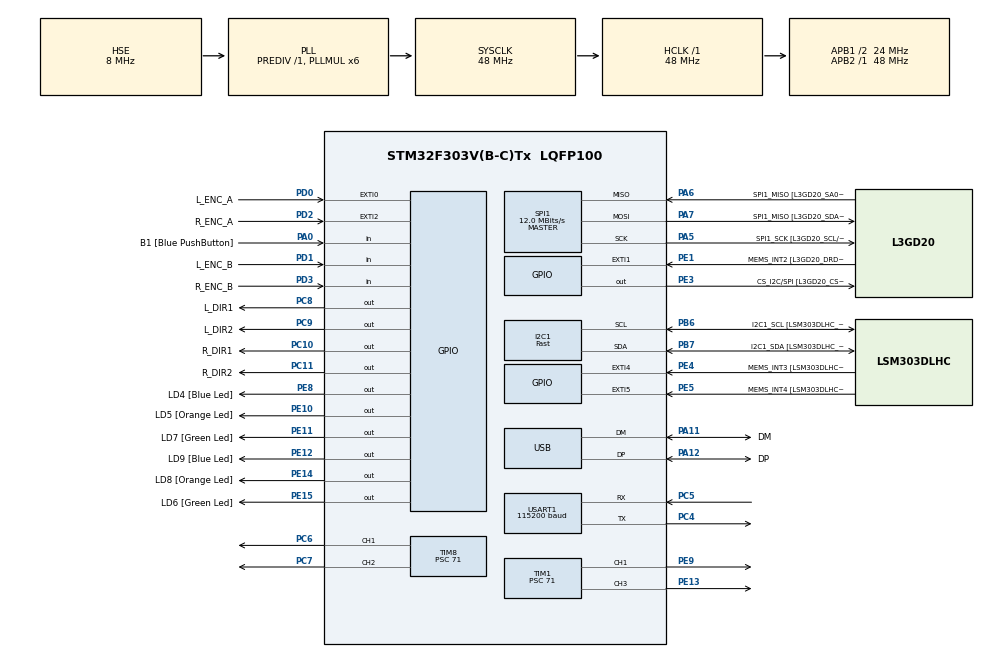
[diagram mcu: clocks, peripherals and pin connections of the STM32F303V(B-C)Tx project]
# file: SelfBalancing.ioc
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I2C1.I2C_Speed_Mode=I2C_Fast
I2C1.Timing=0x0010020A
I2C1.Timing-I2C=0x2000090E
Mcu.Family=STM32F3
Mcu.Name=STM32F303V(B-C)Tx
Mcu.Package=LQFP100
NVIC.EXTI0_IRQn=true\:0\:0\:false\:false\:true\:true\:true\:true
NVIC.EXTI2_TSC_IRQn=true\:0\:0\:false\:false\:true\:true\:true\:true
NVIC.PriorityGroup=NVIC_PRIORITYGROUP_0
NVIC.USART1_IRQn=true\:0\:0\:false\:false\:true\:true\:true\:true
PA0.GPIO_Label=B1 [Blue PushButton]
PA0.Signal=GPIO_Input
PA11.GPIO_Label=DM
PA11.Mode=Device
PA11.Signal=USB_DM
PA12.GPIO_Label=DP
PA12.Mode=Device
PA12.Signal=USB_DP
PA13.GPIO_Label=SWDIO
PA13.Mode=Serial_Wire
PA13.Signal=SYS_JTMS-SWDIO
PA14.GPIO_Label=SWCLK
PA14.Mode=Serial_Wire
PA14.Signal=SYS_JTCK-SWCLK
PA5.GPIO_Label=SPI1_SCK [L3GD20_SCL/SPC]
PA5.Mode=Full_Duplex_Master
PA5.Signal=SPI1_SCK
PA6.GPIO_Label=SPI1_MISO [L3GD20_SA0/SDO]
PA6.Mode=Full_Duplex_Master
PA6.Signal=SPI1_MISO
PA7.GPIO_Label=SPI1_MISO [L3GD20_SDA/SDI/SDO]
PA7.Mode=Full_Duplex_Master
PA7.Signal=SPI1_MOSI
PB3.GPIO_Label=SWO
PB3.Signal=SYS_JTDO-TRACESWO
PB6.GPIO_Label=I2C1_SCL [LSM303DLHC_SCL]
PB6.GPIO_Pu=GPIO_PULLUP
PB6.Mode=I2C
PB6.Signal=I2C1_SCL
PB7.GPIO_Label=I2C1_SDA [LSM303DLHC_SDA]
PB7.GPIO_Pu=GPIO_PULLUP
PB7.Mode=I2C
PB7.Signal=I2C1_SDA
PC10.GPIO_Label=R_DIR1
PC10.Signal=GPIO_Output
PC11.GPIO_Label=R_DIR2
PC11.Signal=GPIO_Output
PC14-OSC32_IN.GPIO_Label=OSC32_IN
PC14-OSC32_IN.Signal=RCC_OSC32_IN
PC15-OSC32_OUT.GPIO_Label=OSC32_OUT
PC15-OSC32_OUT.Signal=RCC_OSC32_OUT
PC4.Mode=Asynchronous
PC4.Signal=USART1_TX
PC5.Mode=Asynchronous
PC5.Signal=USART1_RX
PC6.Signal=S_TIM8_CH1
PC7.Signal=S_TIM8_CH2
PC8.GPIO_Label=L_DIR1
PC8.Signal=GPIO_Output
PC9.GPIO_Label=L_DIR2
PC9.Signal=GPIO_Output
PD0.GPIO_Label=L_ENC_A
PD0.GPIO_PuPd=GPIO_PULLUP
PD0.Signal=GPXTI0
PD1.GPIO_Label=L_ENC_B
PD1.GPIO_PuPd=GPIO_PULLUP
PD1.Signal=GPIO_Input
PD2.GPIO_Label=R_ENC_A
PD2.GPIO_PuPd=GPIO_PULLUP
PD2.Signal=GPXTI2
PD3.GPIO_Label=R_ENC_B
PD3.GPIO_PuPd=GPIO_PULLUP
PD3.Signal=GPIO_Input
PE1.GPIO_Label=MEMS_INT2 [L3GD20_DRDY/INT2]
PE1.GPIO_ModeDefaultEXTI=GPIO_MODE_EVT_RISING
PE1.Signal=GPXTI1
PE10.GPIO_Label=LD5 [Orange Led]
PE10.Signal=GPIO_Output
PE11.GPIO_Label=LD7 [Green Led]
PE11.Signal=GPIO_Output
PE12.GPIO_Label=LD9 [Blue Led]
PE12.Signal=GPIO_Output
PE13.Signal=S_TIM1_CH3
PE14.GPIO_Label=LD8 [Orange Led]
PE14.Signal=GPIO_Output
PE15.GPIO_Label=LD6 [Green Led]
PE15.Signal=GPIO_Output
PE3.GPIO_Label=CS_I2C/SPI [L3GD20_CS_I2C/SPI]
PE3.Signal=GPIO_Output
PE4.GPIO_Label=MEMS_INT3 [LSM303DLHC_INT1]
PE4.GPIO_ModeDefaultEXTI=GPIO_MODE_EVT_RISING
PE4.Signal=GPXTI4
PE5.GPIO_Label=MEMS_INT4 [LSM303DLHC_INT2]
PE5.GPIO_ModeDefaultEXTI=GPIO_MODE_EVT_RISING
PE5.Signal=GPXTI5
PE8.GPIO_Label=LD4 [Blue Led]
PE8.Signal=GPIO_Output
PE9.Signal=S_TIM1_CH1
PF0-OSC_IN.GPIO_Label=OSC_IN
PF0-OSC_IN.Mode=HSE-External-Clock-Source
PF0-OSC_IN.Signal=RCC_OSC_IN
PF1-OSC_OUT.GPIO_Label=OSC_OUT
PF1-OSC_OUT.Signal=RCC_OSC_OUT
ProjectManager.HeapSize=0x200
ProjectManager.StackSize=0x400
ProjectManager.TargetToolchain=CMake
RCC.AHBFreq_Value=48000000
RCC.APB1CLKDivider=RCC_HCLK_DIV2
RCC.APB1Freq_Value=24000000
RCC.APB1TimFreq_Value=48000000
RCC.APB2Freq_Value=48000000
RCC.APB2TimFreq_Value=48000000
RCC.CortexFreq_Value=48000000
RCC.HCLKFreq_Value=48000000
RCC.HSE_VALUE=8000000
RCC.HSI_VALUE=8000000
RCC.LSE_VALUE=32768
RCC.PLLMUL=RCC_PLL_MUL6
RCC.SYSCLKFreq_VALUE=48000000
RCC.SYSCLKSourceVirtual=RCC_SYSCLKSOURCE_PLLCLK
RCC.USBFreq_Value=48000000
SH.S_TIM1_CH1.0=TIM1_CH1,PWM Generation1 CH1
SH.S_TIM1_CH3.0=TIM1_CH3,PWM Generation3 CH3
SH.S_TIM8_CH1.0=TIM8_CH1,PWM Generation1 CH1
SH.S_TIM8_CH2.0=TIM8_CH2,PWM Generation2 CH2
SPI1.BaudRatePrescaler=SPI_BAUDRATEPRESCALER_4
SPI1.BaudRatePrescaler-Full_Duplex_Master=SPI_BAUDRATEPRESCALER_2
SPI1.CalculateBaudRate=12.0 MBits/s
SPI1.CalculateBaudRate-Full_Duplex_Master=24.0 MBits/s
SPI1.Direction=SPI_DIRECTION_2LINES
SPI1.Mode=SPI_MODE_MASTER
SPI1.Mode-Full_Duplex_Master=SPI_MODE_MASTER
SPI1.VirtualType=VM_MASTER
TIM1.Channel-PWM\ Generation1\ CH1=TIM_CHANNEL_1
TIM1.Channel-PWM\ Generation3\ CH3=TIM_CHANNEL_3
TIM1.Period=999
TIM1.Prescaler=71
TIM8.Channel-PWM\ Generation1\ CH1=TIM_CHANNEL_1
TIM8.Channel-PWM\ Generation2\ CH2=TIM_CHANNEL_2
TIM8.Period=999
TIM8.Prescaler=71
USART1.BaudRate=115200
USART1.VirtualMode-Asynchronous=VM_ASYNC
VP_TIM1_VS_ClockSourceINT.Mode=Internal
VP_TIM8_VS_ClockSourceINT.Mode=Internal
board=STM32F3DISCOVERY

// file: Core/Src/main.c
/* USER CODE BEGIN Header */
/* USER CODE END Header */
#include "main.h"
#include <stdio.h>
#include <stdlib.h>
#include <math.h> // Required for atan2 and fabs

/* USER CODE BEGIN PD */
#define LSM303_ACC_ADDR      0x32   // I2C Address (0x19 << 1)
#define LSM303_CTRL_REG1_A   0x20
#define LSM303_OUT_X_L_A     0x28

// L3GD20 (Gyroscope)
#define L3GD20_CTRL_REG1     0x20
#define L3GD20_OUT_X_L       0x28
#define GYRO_CS_PIN          GPIO_PIN_3  // PE3 is Chip Select
#define GYRO_CS_PORT         GPIOE
/* USER CODE END PD */

I2C_HandleTypeDef hi2c1;

SPI_HandleTypeDef hspi1;

TIM_HandleTypeDef htim1;
TIM_HandleTypeDef htim8;

UART_HandleTypeDef huart1;

PCD_HandleTypeDef hpcd_USB_FS;

/* USER CODE BEGIN PV */
#define MPU6050_ADDR 0xD0
int16_t Accel_Y_RAW, Accel_Z_RAW;
float Current_Angle = 0.0;
char UART_Buffer[60]; // Buffer for text
// Add these for the Gyro and Filter
int16_t Gyro_X_RAW;
float Gyro_Rate_X = 0.0;
float dt = 0.01;            // Loop time (approx 10ms)
float Accel_Angle = 0.0;

int16_t Accel_Y_RAW, Accel_Z_RAW;
int16_t Gyro_X_RAW;

// --- PID VARIABLES ---
float Kp = 35.0;  // Proportional Gain (Tune this!)
float Ki = 0.8;   // Integral Gain
float Kd = 1.2;   // Derivative Gain
float PID_Total = 0.0;
float Error = 0.0;
float Previous_Error = 0.0;
float Integral = 0.0;
float Derivative = 0.0;

// --- MOTOR & ENCODER ---
volatile int32_t Encoder_L_Count = 0;
volatile int32_t Encoder_R_Count = 0;

/* USER CODE END PV */

void SystemClock_Config(void);
static void MX_GPIO_Init(void);
static void MX_I2C1_Init(void);
static void MX_SPI1_Init(void);
static void MX_TIM8_Init(void);
static void MX_USB_PCD_Init(void);
static void MX_TIM1_Init(void);
static void MX_USART1_UART_Init(void);

/* USER CODE BEGIN 0 */
int16_t constrain_val(int16_t val, int16_t min, int16_t max) {
    if (val < min) return min;
    if (val > max) return max;
    return val;
}

// void Motor_Control(int16_t speed_L, int16_t speed_R) {
//     // --- LEFT MOTOR ---
//     // PWM: PC6 (TIM8_CH1) -> D11
//     // DIR: PC9 (D12) & PC8 (D10)

//     if (speed_L > 0) {
//         HAL_GPIO_WritePin(GPIOC, GPIO_PIN_9, GPIO_PIN_SET);   // PC9 High
//         HAL_GPIO_WritePin(GPIOC, GPIO_PIN_8, GPIO_PIN_RESET); // PC8 Low
//     } else {
//         HAL_GPIO_WritePin(GPIOC, GPIO_PIN_9, GPIO_PIN_RESET); // PC9 Low
//         HAL_GPIO_WritePin(GPIOC, GPIO_PIN_8, GPIO_PIN_SET);   // PC8 High
//     }
//     // Drive PC6 (TIM8_CH1)
//     __HAL_TIM_SET_COMPARE(&htim8, TIM_CHANNEL_1, abs(speed_L));

//     // --- RIGHT MOTOR ---
//     // PWM: PC7 (TIM8_CH2) -> D9
//     // DIR: PC10 (D8) & PC11 (D7)

//     if (speed_R > 0) {
//         HAL_GPIO_WritePin(GPIOC, GPIO_PIN_10, GPIO_PIN_SET);   // PC10 High
//         HAL_GPIO_WritePin(GPIOC, GPIO_PIN_11, GPIO_PIN_RESET); // PC11 Low
//     } else {
//         HAL_GPIO_WritePin(GPIOC, GPIO_PIN_10, GPIO_PIN_RESET); // PC10 Low
//         HAL_GPIO_WritePin(GPIOC, GPIO_PIN_11, GPIO_PIN_SET);   // PC11 High
//     }
//     // Drive PC7 (TIM8_CH2)
//     __HAL_TIM_SET_COMPARE(&htim8, TIM_CHANNEL_2, abs(speed_R));
// }

// void Motor_Control(int16_t speed_L, int16_t speed_R) {
//     // --- RIGHT MOTOR (PWM: D10/PC8) ---
//     // Forward: D8 (PC10) High, D12 (PC9) Low
//     if (speed_R > 0) {
//         HAL_GPIO_WritePin(GPIOC, GPIO_PIN_10, GPIO_PIN_SET);   // D8 High
//         HAL_GPIO_WritePin(GPIOC, GPIO_PIN_9, GPIO_PIN_RESET);  // D12 Low
//     } else {
//         HAL_GPIO_WritePin(GPIOC, GPIO_PIN_10, GPIO_PIN_RESET); // D8 Low
//         HAL_GPIO_WritePin(GPIOC, GPIO_PIN_9, GPIO_PIN_SET);    // D12 High
//     }
//     // Drive PC8 (TIM8 Channel 3)
//     __HAL_TIM_SET_COMPARE(&htim8, TIM_CHANNEL_3, abs(speed_R));

//     // --- LEFT MOTOR (PWM: D9/PC7) ---
//     // Forward: D7 (PC11) High, D6 (PC6) Low
//     if (speed_L > 0) {
//         HAL_GPIO_WritePin(GPIOC, GPIO_PIN_11, GPIO_PIN_SET);   // D7 High
//         HAL_GPIO_WritePin(GPIOC, GPIO_PIN_6, GPIO_PIN_RESET);  // D6 Low
//     } else {
//         HAL_GPIO_WritePin(GPIOC, GPIO_PIN_11, GPIO_PIN_RESET); // D7 Low
//         HAL_GPIO_WritePin(GPIOC, GPIO_PIN_6, GPIO_PIN_SET);    // D6 High
//     }
//     // Drive PC7 (TIM8 Channel 2)
//     __HAL_TIM_SET_COMPARE(&htim8, TIM_CHANNEL_2, abs(speed_L));
// }

// void Motor_Control(int16_t speed_L, int16_t speed_R) {
//     // --- RIGHT MOTOR (PWM: D10/PC8) ---
//     // Forward: D8 (PC10) High, D12 (PC9) Low
//     if (speed_R > 0) {
//         HAL_GPIO_WritePin(GPIOC, GPIO_PIN_10, GPIO_PIN_SET);   // D8 High
//         HAL_GPIO_WritePin(GPIOC, GPIO_PIN_9, GPIO_PIN_RESET);  // D12 Low
//     } else {
//         HAL_GPIO_WritePin(GPIOC, GPIO_PIN_10, GPIO_PIN_RESET); // D8 Low
//         HAL_GPIO_WritePin(GPIOC, GPIO_PIN_9, GPIO_PIN_SET);    // D12 High
//     }
//     // Drive PC8 (TIM8 Channel 3)
//     __HAL_TIM_SET_COMPARE(&htim8, TIM_CHANNEL_2, abs(speed_R));

//     // --- LEFT MOTOR (PWM: D9/PC7) ---
//     // Forward: D7 (PC11) High, D6 (PC6) Low
//     if (speed_L > 0) {
//         HAL_GPIO_WritePin(GPIOC, GPIO_PIN_10, GPIO_PIN_SET);   // D8 High
//         HAL_GPIO_WritePin(GPIOC, GPIO_PIN_9, GPIO_PIN_RESET);  // D12 Low

//         HAL_GPIO_WritePin(GPIOC, GPIO_PIN_11, GPIO_PIN_SET);   // D7 High
//         HAL_GPIO_WritePin(GPIOC, GPIO_PIN_6, GPIO_PIN_RESET);  // D6 Low
//     } else {
//         HAL_GPIO_WritePin(GPIOC, GPIO_PIN_10, GPIO_PIN_SET);   // D8 High
//         HAL_GPIO_WritePin(GPIOC, GPIO_PIN_9, GPIO_PIN_RESET);  // D12 Low

//         HAL_GPIO_WritePin(GPIOC, GPIO_PIN_11, GPIO_PIN_RESET); // D7 Low
//         HAL_GPIO_WritePin(GPIOC, GPIO_PIN_6, GPIO_PIN_SET);    // D6 High
//     }
//     // Drive PC7 (TIM8 Channel 2)
//       __HAL_TIM_SET_COMPARE(&htim8, TIM_CHANNEL_2, abs(speed_L));

//     __HAL_TIM_SET_COMPARE(&htim8, TIM_CHANNEL_1, abs(speed_L));
// }

void Motor_Control(int16_t speed_L, int16_t speed_R) {
    // --- LEFT MOTOR (PWM: PC6 - TIM8 CH1) ---
    // Direction Pins: PC9 (D12) and PC8 (D10)
    if (speed_L > 0) {
        HAL_GPIO_WritePin(GPIOC, GPIO_PIN_9, GPIO_PIN_SET);   // Forward
        HAL_GPIO_WritePin(GPIOC, GPIO_PIN_8, GPIO_PIN_RESET);
    } else {
        HAL_GPIO_WritePin(GPIOC, GPIO_PIN_9, GPIO_PIN_RESET); // Backward (Swapped)
        HAL_GPIO_WritePin(GPIOC, GPIO_PIN_8, GPIO_PIN_SET);   // Backward (Swapped)
    }
    // Use the argument 'speed_L', NOT the global 'speed'
    __HAL_TIM_SET_COMPARE(&htim8, TIM_CHANNEL_1, abs(speed_L));

    // --- RIGHT MOTOR (PWM: PC7 - TIM8 CH2) ---
    // Direction Pins: PC10 (D8) and PC11 (D7)
    if (speed_R > 0) {
        HAL_GPIO_WritePin(GPIOC, GPIO_PIN_10, GPIO_PIN_SET);   // Forward
        HAL_GPIO_WritePin(GPIOC, GPIO_PIN_11, GPIO_PIN_RESET);
    } else {
        HAL_GPIO_WritePin(GPIOC, GPIO_PIN_10, GPIO_PIN_RESET); // Backward (Swapped)
        HAL_GPIO_WritePin(GPIOC, GPIO_PIN_11, GPIO_PIN_SET);   // Backward (Swapped)
    }
    // Use the argument 'speed_R', NOT the global 'speed'
    __HAL_TIM_SET_COMPARE(&htim8, TIM_CHANNEL_2, abs(speed_R));
}

/* USER CODE END 0 */

// Encoder Interrupts (PD0/PD2) - Remains the same
void HAL_GPIO_EXTI_Callback(uint16_t GPIO_Pin) {
    if (GPIO_Pin == GPIO_PIN_0) { // Left Encoder
        if (HAL_GPIO_ReadPin(GPIOD, GPIO_PIN_1) == GPIO_PIN_RESET) Encoder_L_Count++;
        else Encoder_L_Count--;
    }
    if (GPIO_Pin == GPIO_PIN_2) { // Right Encoder
        if (HAL_GPIO_ReadPin(GPIOD, GPIO_PIN_3) == GPIO_PIN_RESET) Encoder_R_Count--;
        else Encoder_R_Count++;
    }
}
/* USER CODE END 0 */

/* USER CODE BEGIN 0 */
void Init_Sensors(void) {
    // 1. Initialize Accelerometer (LSM303) via I2C
    uint8_t acc_settings[2] = {LSM303_CTRL_REG1_A, 0x57}; // 50Hz, Enable X,Y,Z
    HAL_I2C_Master_Transmit(&hi2c1, LSM303_ACC_ADDR, acc_settings, 2, 10);

    // 2. Initialize Gyroscope (L3GD20) via SPI
    uint8_t gyro_reg = L3GD20_CTRL_REG1;
    uint8_t gyro_settings = 0xFF; // Enable, 95Hz, Cutoff 25

    // SPI Write Sequence: CS Low -> Register -> Value -> CS High
    HAL_GPIO_WritePin(GYRO_CS_PORT, GYRO_CS_PIN, GPIO_PIN_RESET);
    HAL_SPI_Transmit(&hspi1, &gyro_reg, 1, 10);
    HAL_SPI_Transmit(&hspi1, &gyro_settings, 1, 10);
    HAL_GPIO_WritePin(GYRO_CS_PORT, GYRO_CS_PIN, GPIO_PIN_SET);
}

void Read_Tilt_Angle(void) {
    uint8_t Rec_Data[6];
    uint8_t spi_addr;

    // --- READ ACCELEROMETER (I2C) ---
    // 0x80 | Register sets "auto-increment" to read multiple bytes
    HAL_I2C_Mem_Read(&hi2c1, LSM303_ACC_ADDR, LSM303_OUT_X_L_A | 0x80, 1, Rec_Data, 6, 10);

    // Combine bytes (LSM303 is Little Endian)
    // Note: Orientation depends on mounting. Assuming standard vertical mount:
    Accel_Y_RAW = (int16_t)(Rec_Data[3] << 8 | Rec_Data[2]);
    Accel_Z_RAW = (int16_t)(Rec_Data[5] << 8 | Rec_Data[4]);

    // Calculate basic Accel Angle
    Accel_Angle = atan2(Accel_Y_RAW, Accel_Z_RAW) * 57.29;

    // --- READ GYROSCOPE (SPI) ---
    // Read X-axis (Pitch rate)
    spi_addr = L3GD20_OUT_X_L | 0xC0; // 0xC0 = Read bit + Auto-increment

    uint8_t tx_data[3] = {spi_addr, 0x00, 0x00}; // Address + 2 dummy bytes
    uint8_t rx_data[3];

    HAL_GPIO_WritePin(GYRO_CS_PORT, GYRO_CS_PIN, GPIO_PIN_RESET);
    HAL_SPI_TransmitReceive(&hspi1, tx_data, rx_data, 3, 10);
    HAL_GPIO_WritePin(GYRO_CS_PORT, GYRO_CS_PIN, GPIO_PIN_SET);

    // Your data is now in rx_data[1] and rx_data[2]
    Gyro_X_RAW = (int16_t)(rx_data[2] << 8 | rx_data[1]);

    // Convert Raw to Degrees Per Second (Sensitivity ~0.00875 for 250dps scale)
    Gyro_Rate_X = (float)Gyro_X_RAW * 0.00875;

    // --- COMPLEMENTARY FILTER ---
    // Combine Gyro (fast, drifts) and Accel (slow, noisy)
    // Formula: Angle = 0.98 * (Angle + Gyro*dt) + 0.02 * Accel
    Current_Angle = 0.98 * (Current_Angle + Gyro_Rate_X * dt) + 0.02 * Accel_Angle;
}
/* USER CODE END 0 */
/* USER CODE END 0 */

int main(void)
{

  /* MCU Configuration--------------------------------------------------------*/

  /* Reset of all peripherals, Initializes the Flash interface and the Systick. */
  HAL_Init();

  /* Configure the system clock */
  SystemClock_Config();

  /* Initialize all configured peripherals */
  MX_GPIO_Init();
  MX_I2C1_Init();
  MX_SPI1_Init();
  MX_TIM8_Init();
  MX_USB_PCD_Init();
  MX_TIM1_Init();
  MX_USART1_UART_Init();

  /* USER CODE BEGIN 2 */

  // --- MANUAL GPIO CONFIGURATION FOR MOTORS (PC6 & PC7) ---
  // This connects the physical pins to the Internal TIM8
  GPIO_InitTypeDef GPIO_InitStruct = {0};
  __HAL_RCC_GPIOC_CLK_ENABLE(); // Ensure Port C clock is on

  HAL_GPIO_Init(GPIOC, &GPIO_InitStruct);
  Init_Sensors(); // Configures the LSM303 and L3GD20
  HAL_TIM_PWM_Start(&htim1, TIM_CHANNEL_1);
  HAL_TIM_PWM_Start(&htim1, TIM_CHANNEL_3);

  HAL_TIM_PWM_Start(&htim8, TIM_CHANNEL_1); // Left Motor (PC6)
  HAL_TIM_PWM_Start(&htim8, TIM_CHANNEL_2); // Right Motor (PC7)
  /* USER CODE END 2 */

  /* Infinite loop */
  /* USER CODE BEGIN WHILE */
  while(1)
  {

    Read_Tilt_Angle(); // Call the new function

    // --- 2. PID CALCULATION ---
    float Target_Angle = -1.5; // Mechanical balance point offset

    Error = Current_Angle - Target_Angle;
    Integral += Error * dt;
    Derivative = (Error - Previous_Error) / dt;

    // Anti-windup (prevents Integral from growing too large)
    if (Integral > 400) Integral = 400;
    if (Integral < -400) Integral = -400;

    PID_Total = (Kp * Error) + (Ki * Integral) + (Kd * Derivative);
    Previous_Error = Error;

    // --- 3. SAFETY & MOTOR UPDATE ---
    // Convert PID output to PWM (clamp between -1000 and 1000)
    int16_t pwm_out = constrain_val((int16_t)PID_Total, -1000, 1000);

    // Safety: If angle is too steep (>45 deg), stop motors immediately
    if (Current_Angle > 45.0 || Current_Angle < -45.0) {
        Motor_Control(0,0);
        Integral = 0; // Reset integral so it doesn't jump on recovery
    } else {
        Motor_Control(pwm_out,pwm_out);
    }

    int len = sprintf(UART_Buffer, "Ang: %.2f | Gyr: %.2f | PWM:%d\r\n", Current_Angle, Gyro_Rate_X, pwm_out);
    HAL_UART_Transmit(&huart1, (uint8_t*)UART_Buffer, len, 10);
    __HAL_TIM_SET_COMPARE(&htim1, TIM_CHANNEL_1, (Current_Angle > 0) ? (uint32_t)(Current_Angle * 40) : 0);
    __HAL_TIM_SET_COMPARE(&htim1, TIM_CHANNEL_3, (Current_Angle < 0) ? (uint32_t)(-Current_Angle * 40) : 0);
    HAL_Delay(10); // 10ms del

  }
    /* USER CODE END WHILE */

}

void SystemClock_Config(void)
{
  RCC_OscInitTypeDef RCC_OscInitStruct = {0};
  RCC_ClkInitTypeDef RCC_ClkInitStruct = {0};
  RCC_PeriphCLKInitTypeDef PeriphClkInit = {0};

  /** Initializes the RCC Oscillators according to the specified parameters
  * in the RCC_OscInitTypeDef structure.
  */
  RCC_OscInitStruct.OscillatorType = RCC_OSCILLATORTYPE_HSI|RCC_OSCILLATORTYPE_HSE;
  RCC_OscInitStruct.HSEState = RCC_HSE_BYPASS;
  RCC_OscInitStruct.HSEPredivValue = RCC_HSE_PREDIV_DIV1;
  RCC_OscInitStruct.HSIState = RCC_HSI_ON;
  RCC_OscInitStruct.HSICalibrationValue = RCC_HSICALIBRATION_DEFAULT;
  RCC_OscInitStruct.PLL.PLLState = RCC_PLL_ON;
  RCC_OscInitStruct.PLL.PLLSource = RCC_PLLSOURCE_HSE;
  RCC_OscInitStruct.PLL.PLLMUL = RCC_PLL_MUL6;
  if (HAL_RCC_OscConfig(&RCC_OscInitStruct) != HAL_OK)
  {
    Error_Handler();
  }

  /** Initializes the CPU, AHB and APB buses clocks
  */
  RCC_ClkInitStruct.ClockType = RCC_CLOCKTYPE_HCLK|RCC_CLOCKTYPE_SYSCLK
                              |RCC_CLOCKTYPE_PCLK1|RCC_CLOCKTYPE_PCLK2;
  RCC_ClkInitStruct.SYSCLKSource = RCC_SYSCLKSOURCE_PLLCLK;
  RCC_ClkInitStruct.AHBCLKDivider = RCC_SYSCLK_DIV1;
  RCC_ClkInitStruct.APB1CLKDivider = RCC_HCLK_DIV2;
  RCC_ClkInitStruct.APB2CLKDivider = RCC_HCLK_DIV1;

  if (HAL_RCC_ClockConfig(&RCC_ClkInitStruct, FLASH_LATENCY_1) != HAL_OK)
  {
    Error_Handler();
  }
  PeriphClkInit.PeriphClockSelection = RCC_PERIPHCLK_USB|RCC_PERIPHCLK_USART1
                              |RCC_PERIPHCLK_I2C1|RCC_PERIPHCLK_TIM1
                              |RCC_PERIPHCLK_TIM8;
  PeriphClkInit.Usart1ClockSelection = RCC_USART1CLKSOURCE_PCLK2;
  PeriphClkInit.I2c1ClockSelection = RCC_I2C1CLKSOURCE_HSI;
  PeriphClkInit.USBClockSelection = RCC_USBCLKSOURCE_PLL;
  PeriphClkInit.Tim1ClockSelection = RCC_TIM1CLK_HCLK;
  PeriphClkInit.Tim8ClockSelection = RCC_TIM8CLK_HCLK;
  if (HAL_RCCEx_PeriphCLKConfig(&PeriphClkInit) != HAL_OK)
  {
    Error_Handler();
  }
}

static void MX_I2C1_Init(void)
{

  hi2c1.Instance = I2C1;
  hi2c1.Init.Timing = 0x0010020A;
  hi2c1.Init.OwnAddress1 = 0;
  hi2c1.Init.AddressingMode = I2C_ADDRESSINGMODE_7BIT;
  hi2c1.Init.DualAddressMode = I2C_DUALADDRESS_DISABLE;
  hi2c1.Init.OwnAddress2 = 0;
  hi2c1.Init.OwnAddress2Masks = I2C_OA2_NOMASK;
  hi2c1.Init.GeneralCallMode = I2C_GENERALCALL_DISABLE;
  hi2c1.Init.NoStretchMode = I2C_NOSTRETCH_DISABLE;
  if (HAL_I2C_Init(&hi2c1) != HAL_OK)
  {
    Error_Handler();
  }

  /** Configure Analogue filter
  */
  if (HAL_I2CEx_ConfigAnalogFilter(&hi2c1, I2C_ANALOGFILTER_ENABLE) != HAL_OK)
  {
    Error_Handler();
  }

  /** Configure Digital filter
  */
  if (HAL_I2CEx_ConfigDigitalFilter(&hi2c1, 0) != HAL_OK)
  {
    Error_Handler();
  }

}

static void MX_SPI1_Init(void)
{

  /* SPI1 parameter configuration*/
  hspi1.Instance = SPI1;
  hspi1.Init.Mode = SPI_MODE_MASTER;
  hspi1.Init.Direction = SPI_DIRECTION_2LINES;
  hspi1.Init.DataSize = SPI_DATASIZE_8BIT;
  hspi1.Init.CLKPolarity = SPI_POLARITY_LOW;
  hspi1.Init.CLKPhase = SPI_PHASE_1EDGE;
  hspi1.Init.NSS = SPI_NSS_SOFT;
  hspi1.Init.BaudRatePrescaler = SPI_BAUDRATEPRESCALER_4;
  hspi1.Init.FirstBit = SPI_FIRSTBIT_MSB;
  hspi1.Init.TIMode = SPI_TIMODE_DISABLE;
  hspi1.Init.CRCCalculation = SPI_CRCCALCULATION_DISABLE;
  hspi1.Init.CRCPolynomial = 7;
  hspi1.Init.CRCLength = SPI_CRC_LENGTH_DATASIZE;
  hspi1.Init.NSSPMode = SPI_NSS_PULSE_ENABLE;
  if (HAL_SPI_Init(&hspi1) != HAL_OK)
  {
    Error_Handler();
  }

}

static void MX_TIM1_Init(void)
{

  TIM_ClockConfigTypeDef sClockSourceConfig = {0};
  TIM_MasterConfigTypeDef sMasterConfig = {0};
  TIM_OC_InitTypeDef sConfigOC = {0};
  TIM_BreakDeadTimeConfigTypeDef sBreakDeadTimeConfig = {0};

  htim1.Instance = TIM1;
  htim1.Init.Prescaler = 71;
  htim1.Init.CounterMode = TIM_COUNTERMODE_UP;
  htim1.Init.Period = 999;
  htim1.Init.ClockDivision = TIM_CLOCKDIVISION_DIV1;
  htim1.Init.RepetitionCounter = 0;
  htim1.Init.AutoReloadPreload = TIM_AUTORELOAD_PRELOAD_DISABLE;
  if (HAL_TIM_Base_Init(&htim1) != HAL_OK)
  {
    Error_Handler();
  }
  sClockSourceConfig.ClockSource = TIM_CLOCKSOURCE_INTERNAL;
  if (HAL_TIM_ConfigClockSource(&htim1, &sClockSourceConfig) != HAL_OK)
  {
    Error_Handler();
  }
  if (HAL_TIM_PWM_Init(&htim1) != HAL_OK)
  {
    Error_Handler();
  }
  sMasterConfig.MasterOutputTrigger = TIM_TRGO_RESET;
  sMasterConfig.MasterOutputTrigger2 = TIM_TRGO2_RESET;
  sMasterConfig.MasterSlaveMode = TIM_MASTERSLAVEMODE_DISABLE;
  if (HAL_TIMEx_MasterConfigSynchronization(&htim1, &sMasterConfig) != HAL_OK)
  {
    Error_Handler();
  }
  sConfigOC.OCMode = TIM_OCMODE_PWM1;
  sConfigOC.Pulse = 0;
  sConfigOC.OCPolarity = TIM_OCPOLARITY_HIGH;
  sConfigOC.OCNPolarity = TIM_OCNPOLARITY_HIGH;
  sConfigOC.OCFastMode = TIM_OCFAST_DISABLE;
  sConfigOC.OCIdleState = TIM_OCIDLESTATE_RESET;
  sConfigOC.OCNIdleState = TIM_OCNIDLESTATE_RESET;
  if (HAL_TIM_PWM_ConfigChannel(&htim1, &sConfigOC, TIM_CHANNEL_1) != HAL_OK)
  {
    Error_Handler();
  }
  if (HAL_TIM_PWM_ConfigChannel(&htim1, &sConfigOC, TIM_CHANNEL_3) != HAL_OK)
  {
    Error_Handler();
  }
  sBreakDeadTimeConfig.OffStateRunMode = TIM_OSSR_DISABLE;
  sBreakDeadTimeConfig.OffStateIDLEMode = TIM_OSSI_DISABLE;
  sBreakDeadTimeConfig.LockLevel = TIM_LOCKLEVEL_OFF;
  sBreakDeadTimeConfig.DeadTime = 0;
  sBreakDeadTimeConfig.BreakState = TIM_BREAK_DISABLE;
  sBreakDeadTimeConfig.BreakPolarity = TIM_BREAKPOLARITY_HIGH;
  sBreakDeadTimeConfig.BreakFilter = 0;
  sBreakDeadTimeConfig.Break2State = TIM_BREAK2_DISABLE;
  sBreakDeadTimeConfig.Break2Polarity = TIM_BREAK2POLARITY_HIGH;
  sBreakDeadTimeConfig.Break2Filter = 0;
  sBreakDeadTimeConfig.AutomaticOutput = TIM_AUTOMATICOUTPUT_DISABLE;
  if (HAL_TIMEx_ConfigBreakDeadTime(&htim1, &sBreakDeadTimeConfig) != HAL_OK)
  {
    Error_Handler();
  }
  HAL_TIM_MspPostInit(&htim1);

}

  static void MX_TIM8_Init(void)
{
  TIM_ClockConfigTypeDef sClockSourceConfig = {0};
  TIM_MasterConfigTypeDef sMasterConfig = {0};
  TIM_OC_InitTypeDef sConfigOC = {0};
  TIM_BreakDeadTimeConfigTypeDef sBreakDeadTimeConfig = {0};

  htim8.Instance = TIM8;
  htim8.Init.Prescaler = 71;
  htim8.Init.CounterMode = TIM_COUNTERMODE_UP;
  htim8.Init.Period = 999;
  htim8.Init.ClockDivision = TIM_CLOCKDIVISION_DIV1;
  htim8.Init.RepetitionCounter = 0;
  htim8.Init.AutoReloadPreload = TIM_AUTORELOAD_PRELOAD_DISABLE;
  if (HAL_TIM_Base_Init(&htim8) != HAL_OK)
  {
    Error_Handler();
  }
  sClockSourceConfig.ClockSource = TIM_CLOCKSOURCE_INTERNAL;
  if (HAL_TIM_ConfigClockSource(&htim8, &sClockSourceConfig) != HAL_OK)
  {
    Error_Handler();
  }
  if (HAL_TIM_PWM_Init(&htim8) != HAL_OK)
  {
    Error_Handler();
  }
  sMasterConfig.MasterOutputTrigger = TIM_TRGO_RESET;
  sMasterConfig.MasterOutputTrigger2 = TIM_TRGO2_RESET;
  sMasterConfig.MasterSlaveMode = TIM_MASTERSLAVEMODE_DISABLE;
  if (HAL_TIMEx_MasterConfigSynchronization(&htim8, &sMasterConfig) != HAL_OK)
  {
    Error_Handler();
  }

  // --- PWM CONFIGURATION ---
  sConfigOC.OCMode = TIM_OCMODE_PWM1;
  sConfigOC.Pulse = 0;
  sConfigOC.OCPolarity = TIM_OCPOLARITY_HIGH;
  sConfigOC.OCNPolarity = TIM_OCNPOLARITY_HIGH;
  sConfigOC.OCFastMode = TIM_OCFAST_DISABLE;
  sConfigOC.OCIdleState = TIM_OCIDLESTATE_RESET;
  sConfigOC.OCNIdleState = TIM_OCNIDLESTATE_RESET;

  // Enable Channel 2 (Left Motor - M1/M2)
  if (HAL_TIM_PWM_ConfigChannel(&htim8, &sConfigOC, TIM_CHANNEL_2) != HAL_OK)
  {
    Error_Handler();
  }

  // --- ENABLE CHANNEL 3 HERE (Right Motor - M3/M4) ---
  if (HAL_TIM_PWM_ConfigChannel(&htim8, &sConfigOC, TIM_CHANNEL_1) != HAL_OK)
  {
    Error_Handler();
  }

  // Break/DeadTime Config (Standard)
  sBreakDeadTimeConfig.OffStateRunMode = TIM_OSSR_DISABLE;
  sBreakDeadTimeConfig.OffStateIDLEMode = TIM_OSSI_DISABLE;
  sBreakDeadTimeConfig.LockLevel = TIM_LOCKLEVEL_OFF;
  sBreakDeadTimeConfig.DeadTime = 0;
  sBreakDeadTimeConfig.BreakState = TIM_BREAK_DISABLE;
  sBreakDeadTimeConfig.BreakPolarity = TIM_BREAKPOLARITY_HIGH;
  sBreakDeadTimeConfig.BreakFilter = 0;
  sBreakDeadTimeConfig.Break2State = TIM_BREAK2_DISABLE;
  sBreakDeadTimeConfig.Break2Polarity = TIM_BREAK2POLARITY_HIGH;
  sBreakDeadTimeConfig.Break2Filter = 0;
  sBreakDeadTimeConfig.AutomaticOutput = TIM_AUTOMATICOUTPUT_DISABLE;
  if (HAL_TIMEx_ConfigBreakDeadTime(&htim8, &sBreakDeadTimeConfig) != HAL_OK)
  {
    Error_Handler();
  }

  HAL_TIM_MspPostInit(&htim8);
}

  // static void MX_TIM8_Init(void)
// {

//   /* USER CODE BEGIN TIM8_Init 0 */
//   /* USER CODE END TIM8_Init 0 */

//   TIM_ClockConfigTypeDef sClockSourceConfig = {0};
//   TIM_MasterConfigTypeDef sMasterConfig = {0};
//   TIM_OC_InitTypeDef sConfigOC = {0};
//   TIM_BreakDeadTimeConfigTypeDef sBreakDeadTimeConfig = {0};

//   /* USER CODE BEGIN TIM8_Init 1 */
//   /* USER CODE END TIM8_Init 1 */
//   htim8.Instance = TIM8;
//   htim8.Init.Prescaler = 71;
//   htim8.Init.CounterMode = TIM_COUNTERMODE_UP;
//   htim8.Init.Period = 999;
//   htim8.Init.ClockDivision = TIM_CLOCKDIVISION_DIV1;
//   htim8.Init.RepetitionCounter = 0;
//   htim8.Init.AutoReloadPreload = TIM_AUTORELOAD_PRELOAD_DISABLE;
//   if (HAL_TIM_Base_Init(&htim8) != HAL_OK)
//   {
//     Error_Handler();
//   }
//   sClockSourceConfig.ClockSource = TIM_CLOCKSOURCE_INTERNAL;
//   if (HAL_TIM_ConfigClockSource(&htim8, &sClockSourceConfig) != HAL_OK)
//   {
//     Error_Handler();
//   }
//   if (HAL_TIM_PWM_Init(&htim8) != HAL_OK)
//   {
//     Error_Handler();
//   }
//   sMasterConfig.MasterOutputTrigger = TIM_TRGO_RESET;
//   sMasterConfig.MasterOutputTrigger2 = TIM_TRGO2_RESET;
//   sMasterConfig.MasterSlaveMode = TIM_MASTERSLAVEMODE_DISABLE;
//   if (HAL_TIMEx_MasterConfigSynchronization(&htim8, &sMasterConfig) != HAL_OK)
//   {
//     Error_Handler();
//   }
//   sConfigOC.OCMode = TIM_OCMODE_PWM1;
//   sConfigOC.Pulse = 0;
//   sConfigOC.OCPolarity = TIM_OCPOLARITY_HIGH;
//   sConfigOC.OCNPolarity = TIM_OCNPOLARITY_HIGH;
//   sConfigOC.OCFastMode = TIM_OCFAST_DISABLE;
//   sConfigOC.OCIdleState = TIM_OCIDLESTATE_RESET;
//   sConfigOC.OCNIdleState = TIM_OCNIDLESTATE_RESET;
//   if (HAL_TIM_PWM_ConfigChannel(&htim8, &sConfigOC, TIM_CHANNEL_1) != HAL_OK)
//   {
//     Error_Handler();
//   }
//   if (HAL_TIM_PWM_ConfigChannel(&htim8, &sConfigOC, TIM_CHANNEL_2) != HAL_OK)
//   {
//     Error_Handler();
//   }
//   sBreakDeadTimeConfig.OffStateRunMode = TIM_OSSR_DISABLE;
//   sBreakDeadTimeConfig.OffStateIDLEMode = TIM_OSSI_DISABLE;
//   sBreakDeadTimeConfig.LockLevel = TIM_LOCKLEVEL_OFF;
//   sBreakDeadTimeConfig.DeadTime = 0;
//   sBreakDeadTimeConfig.BreakState = TIM_BREAK_DISABLE;
//   sBreakDeadTimeConfig.BreakPolarity = TIM_BREAKPOLARITY_HIGH;
//   sBreakDeadTimeConfig.BreakFilter = 0;
//   sBreakDeadTimeConfig.Break2State = TIM_BREAK2_DISABLE;
//   sBreakDeadTimeConfig.Break2Polarity = TIM_BREAK2POLARITY_HIGH;
//   sBreakDeadTimeConfig.Break2Filter = 0;
//   sBreakDeadTimeConfig.AutomaticOutput = TIM_AUTOMATICOUTPUT_DISABLE;
//   if (HAL_TIMEx_ConfigBreakDeadTime(&htim8, &sBreakDeadTimeConfig) != HAL_OK)
//   {
//     Error_Handler();
//   }
//   /* USER CODE BEGIN TIM8_Init 2 */
//   /* USER CODE END TIM8_Init 2 */
//   HAL_TIM_MspPostInit(&htim8);

// }

static void MX_USART1_UART_Init(void)
{

  huart1.Instance = USART1;
  huart1.Init.BaudRate = 115200;
  huart1.Init.WordLength = UART_WORDLENGTH_8B;
  huart1.Init.StopBits = UART_STOPBITS_1;
  huart1.Init.Parity = UART_PARITY_NONE;
  huart1.Init.Mode = UART_MODE_TX_RX;
  huart1.Init.HwFlowCtl = UART_HWCONTROL_NONE;
  huart1.Init.OverSampling = UART_OVERSAMPLING_16;
  huart1.Init.OneBitSampling = UART_ONE_BIT_SAMPLE_DISABLE;
  huart1.AdvancedInit.AdvFeatureInit = UART_ADVFEATURE_NO_INIT;
  if (HAL_UART_Init(&huart1) != HAL_OK)
  {
    Error_Handler();
  }

}

static void MX_USB_PCD_Init(void)
{

  hpcd_USB_FS.Instance = USB;
  hpcd_USB_FS.Init.dev_endpoints = 8;
  hpcd_USB_FS.Init.speed = PCD_SPEED_FULL;
  hpcd_USB_FS.Init.phy_itface = PCD_PHY_EMBEDDED;
  hpcd_USB_FS.Init.low_power_enable = DISABLE;
  hpcd_USB_FS.Init.battery_charging_enable = DISABLE;
  if (HAL_PCD_Init(&hpcd_USB_FS) != HAL_OK)
  {
    Error_Handler();
  }

}

static void MX_GPIO_Init(void)
{
  GPIO_InitTypeDef GPIO_InitStruct = {0};

  /* GPIO Ports Clock Enable */
  __HAL_RCC_GPIOE_CLK_ENABLE();
  __HAL_RCC_GPIOC_CLK_ENABLE();
  __HAL_RCC_GPIOF_CLK_ENABLE();
  __HAL_RCC_GPIOA_CLK_ENABLE();
  __HAL_RCC_GPIOD_CLK_ENABLE();
  __HAL_RCC_GPIOB_CLK_ENABLE();

  /*Configure GPIO pin Output Level */
  HAL_GPIO_WritePin(GPIOE, CS_I2C_SPI_Pin|LD4_Pin|LD5_Pin|LD7_Pin
                          |LD9_Pin|LD8_Pin|LD6_Pin, GPIO_PIN_RESET);

  /*Configure GPIO pin Output Level */
  HAL_GPIO_WritePin(GPIOC, L_DIR1_Pin|L_DIR2_Pin|R_DIR1_Pin|R_DIR2_Pin, GPIO_PIN_RESET);

  /*Configure GPIO pins : CS_I2C_SPI_Pin LD4_Pin LD5_Pin LD7_Pin
                           LD9_Pin LD8_Pin LD6_Pin */
  GPIO_InitStruct.Pin = CS_I2C_SPI_Pin|LD4_Pin|LD5_Pin|LD7_Pin
                          |LD9_Pin|LD8_Pin|LD6_Pin;
  GPIO_InitStruct.Mode = GPIO_MODE_OUTPUT_PP;
  GPIO_InitStruct.Pull = GPIO_NOPULL;
  GPIO_InitStruct.Speed = GPIO_SPEED_FREQ_LOW;
  HAL_GPIO_Init(GPIOE, &GPIO_InitStruct);

  /*Configure GPIO pins : MEMS_INT3_Pin MEMS_INT4_Pin MEMS_INT2_Pin */
  GPIO_InitStruct.Pin = MEMS_INT3_Pin|MEMS_INT4_Pin|MEMS_INT2_Pin;
  GPIO_InitStruct.Mode = GPIO_MODE_EVT_RISING;
  GPIO_InitStruct.Pull = GPIO_NOPULL;
  HAL_GPIO_Init(GPIOE, &GPIO_InitStruct);

  /*Configure GPIO pin : B1_Pin */
  GPIO_InitStruct.Pin = B1_Pin;
  GPIO_InitStruct.Mode = GPIO_MODE_INPUT;
  GPIO_InitStruct.Pull = GPIO_NOPULL;
  HAL_GPIO_Init(B1_GPIO_Port, &GPIO_InitStruct);

  /*Configure GPIO pins : L_DIR1_Pin L_DIR2_Pin R_DIR1_Pin R_DIR2_Pin */
  GPIO_InitStruct.Pin = L_DIR1_Pin|L_DIR2_Pin|R_DIR1_Pin|R_DIR2_Pin;
  GPIO_InitStruct.Mode = GPIO_MODE_OUTPUT_PP;
  GPIO_InitStruct.Pull = GPIO_NOPULL;
  GPIO_InitStruct.Speed = GPIO_SPEED_FREQ_LOW;
  HAL_GPIO_Init(GPIOC, &GPIO_InitStruct);

  /*Configure GPIO pins : L_ENC_A_Pin R_ENC_A_Pin */
  GPIO_InitStruct.Pin = L_ENC_A_Pin|R_ENC_A_Pin;
  GPIO_InitStruct.Mode = GPIO_MODE_IT_RISING;
  GPIO_InitStruct.Pull = GPIO_PULLUP;
  HAL_GPIO_Init(GPIOD, &GPIO_InitStruct);

  /*Configure GPIO pins : L_ENC_B_Pin R_ENC_B_Pin */
  GPIO_InitStruct.Pin = L_ENC_B_Pin|R_ENC_B_Pin;
  GPIO_InitStruct.Mode = GPIO_MODE_INPUT;
  GPIO_InitStruct.Pull = GPIO_PULLUP;
  HAL_GPIO_Init(GPIOD, &GPIO_InitStruct);

  /* EXTI interrupt init*/
  HAL_NVIC_SetPriority(EXTI0_IRQn, 0, 0);
  HAL_NVIC_EnableIRQ(EXTI0_IRQn);

  HAL_NVIC_SetPriority(EXTI2_TSC_IRQn, 0, 0);
  HAL_NVIC_EnableIRQ(EXTI2_TSC_IRQn);

}

void Error_Handler(void)
{
}
